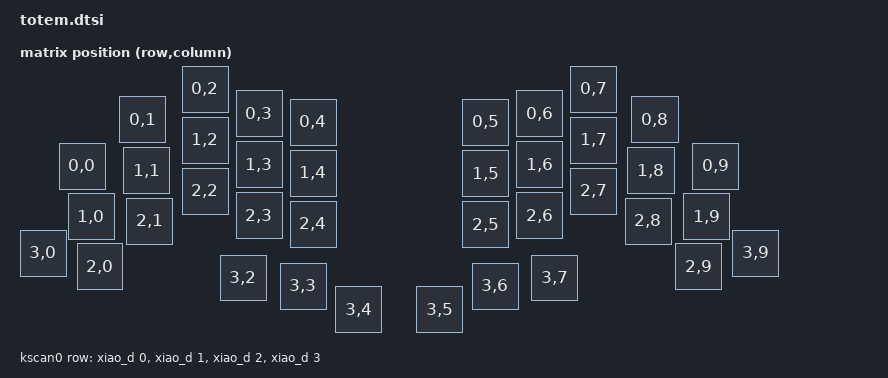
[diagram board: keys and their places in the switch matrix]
/*
 * Copyright (c) 2022 The ZMK Contributors
 *
 * SPDX-License-Identifier: MIT
 */

#include <dt-bindings/zmk/matrix_transform.h>
#include <physical_layouts.dtsi>

&uicr {
    nfct-pins-as-gpios;
};

/*
 * External QSPI flash OFF (2026-07-28).
 *
 * The board file declares jedec-id [85 60 15] (Puya P25Q16H), but these XIAOs
 * answer [ef 40 15] -- a Winbond part. So qspi_nor fails to initialise on every
 * boot ("JEDEC id [ef 40 15] expect [85 60 15]") and the device is never ready.
 * The node declares has-dpd with enter/exit timings, but a driver that never
 * initialises never issues deep-power-down, so the chip sits drawing current
 * forever. On a keyboard cell that is the difference between days and weeks.
 *
 * ZMK does not use the external flash: settings and bonds live in the internal
 * NVS storage_partition at 0xec000, so switching this off costs nothing.
 *
 * Prompted by the right half dying after ~2 days: it typed while charging and
 * went unresponsive on battery, and the 88% that macOS reported was stale --
 * that level reaches the host through the split link, which was down.
 *
 * Revert by deleting this block if anything ever needs the external flash.
 */
&qspi {
    status = "disabled";
};

/ {
    chosen {
        zmk,kscan = &kscan0;
        zmk,physical-layout = &totem_physical_layout;
    };

    default_transform: keymap_transform_0 {
        compatible = "zmk,matrix-transform";
        columns = <10>;
        rows = <4>;
        map = <
                RC(0,0) RC(0,1) RC(0,2) RC(0,3) RC(0,4)    RC(0,5) RC(0,6) RC(0,7) RC(0,8) RC(0,9)
                RC(1,0) RC(1,1) RC(1,2) RC(1,3) RC(1,4)    RC(1,5) RC(1,6) RC(1,7) RC(1,8) RC(1,9)
        RC(3,0) RC(2,0) RC(2,1) RC(2,2) RC(2,3) RC(2,4)    RC(2,5) RC(2,6) RC(2,7) RC(2,8) RC(2,9) RC(3,9)
                                RC(3,2) RC(3,3) RC(3,4)    RC(3,5) RC(3,6) RC(3,7)         
        >;
    };

    kscan0: kscan_0 {
        compatible = "zmk,kscan-gpio-matrix";
        label = "KSCAN";
        diode-direction = "col2row"; 
        row-gpios
            = <&xiao_d 0 (GPIO_ACTIVE_HIGH | GPIO_PULL_DOWN)>
            , <&xiao_d 1 (GPIO_ACTIVE_HIGH | GPIO_PULL_DOWN)>
            , <&xiao_d 2 (GPIO_ACTIVE_HIGH | GPIO_PULL_DOWN)>
            , <&xiao_d 3 (GPIO_ACTIVE_HIGH | GPIO_PULL_DOWN)>
            ;
    };
    
     totem_physical_layout: totem_physical_layout {
        compatible = "zmk,physical-layout";
        display-name = "TOTEM Layout";
        transform = <&default_transform>;
        kscan = <&kscan0>;
        
        keys
            // Row 0: Q W E R T | Y U I O P
            = <&key_physical_attrs 100 100   266   480   0   0   0>  // Q
            , <&key_physical_attrs 100 100   387   387   0   0   0>  // W
            , <&key_physical_attrs 100 100   512   326   0   0   0>  // E
            , <&key_physical_attrs 100 100   620   375   0   0   0>  // R
            , <&key_physical_attrs 100 100   728   392   0   0   0>  // T
            , <&key_physical_attrs 100 100  1073   392   0   0   0>  // Y (using P's coord)
            , <&key_physical_attrs 100 100  1181   375   0   0   0>  // U (using O's coord)
            , <&key_physical_attrs 100 100  1289   326   0   0   0>  // I (stays)
            , <&key_physical_attrs 100 100  1412   387   0   0   0>  // O (using U's coord)
            , <&key_physical_attrs 100 100  1533   480   0   0   0>  // P (using Y's coord)
            
            // Row 1: A S D F G | H J K L ;
            , <&key_physical_attrs 100 100   284   581   0   0   0>  // A
            , <&key_physical_attrs 100 100   395   489   0   0   0>  // S
            , <&key_physical_attrs 100 100   512   428   0   0   0>  // D
            , <&key_physical_attrs 100 100   620   477   0   0   0>  // F
            , <&key_physical_attrs 100 100   728   494   0   0   0>  // G
            , <&key_physical_attrs 100 100  1073   495   0   0   0>  // H (using ;'s coord)
            , <&key_physical_attrs 100 100  1181   477   0   0   0>  // J (using L's coord)
            , <&key_physical_attrs 100 100  1289   428   0   0   0>  // K (stays)
            , <&key_physical_attrs 100 100  1404   489   0   0   0>  // L (using J's coord)
            , <&key_physical_attrs 100 100  1515   581   0   0   0>  // ; (using H's coord)
            
            // Row 2: [ Z X C V B | N M , . / ]
            , <&key_physical_attrs 100 100   188   654   0   0   0>  // [
            , <&key_physical_attrs 100 100   302   681   0   0   0>  // Z
            , <&key_physical_attrs 100 100   402   590   0   0   0>  // X
            , <&key_physical_attrs 100 100   512   530   0   0   0>  // C
            , <&key_physical_attrs 100 100   620   579   0   0   0>  // V
            , <&key_physical_attrs 100 100   728   596   0   0   0>  // B
            , <&key_physical_attrs 100 100  1073   597   0   0   0>  // N (using ]'s coord)
            , <&key_physical_attrs 100 100  1181   579   0   0   0>  // M (using /'s coord)
            , <&key_physical_attrs 100 100  1289   530   0   0   0>  // , (using .'s coord)
            , <&key_physical_attrs 100 100  1398   590   0   0   0>  // . (using ,'s coord)
            , <&key_physical_attrs 100 100  1499   681   0   0   0>  // / (using M's coord)
            , <&key_physical_attrs 100 100  1613   654   0   0   0>  // ] (using N's coord)
            
            // Row 3: ESC BSPC TAB | ENT SPC LSHFT
            , <&key_physical_attrs 100 100   588   704   0   0   0>  // ESC
            , <&key_physical_attrs 100 100   708   720   0   0   0>  // BSPC
            , <&key_physical_attrs 100 100   819   767   0   0   0>  // TAB
            , <&key_physical_attrs 100 100   981   767   0   0   0>  // ENT (using LSHFT's coord)
            , <&key_physical_attrs 100 100  1092   720   0   0   0>  // SPC (stays)
            , <&key_physical_attrs 100 100  1211   704   0   0   0>  // LSHFT (using ENT's coord)
            ;
    };

};
